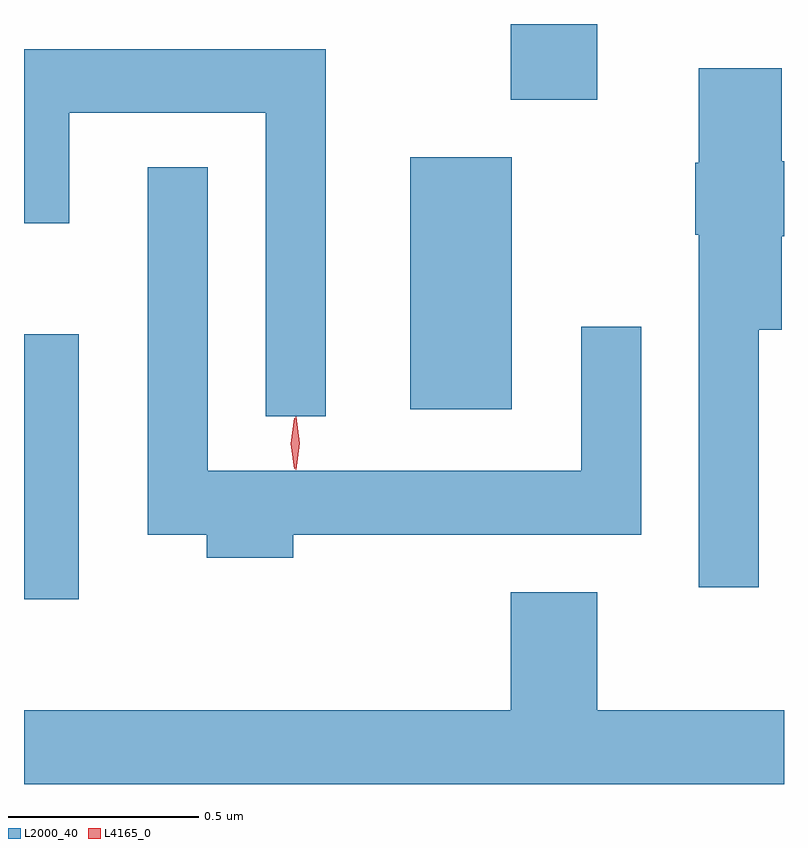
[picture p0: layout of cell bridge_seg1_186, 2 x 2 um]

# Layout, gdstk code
import gdstk
lib = gdstk.Library(unit=1e-6, precision=1e-09)
def R(c, l, rs):  # rectangles x0, y0, x1, y1
    for r in rs: c.add(gdstk.rectangle(r[:2], r[2:], *l))
def P(c, l, *ps):  # polygons
    for p in ps: c.add(gdstk.Polygon(p, *l))
L2000_40 = (2000, 40)
L4165_0 = (4165, 0)

bridge_seg1_186 = lib.new_cell('bridge_seg1_186')
R(bridge_seg1_186, L2000_40, [(776.64,957.856,776.784,958.554), (777.656,958.356,777.924,959.019), (777.921,959.171,778.149,959.37)])
P(bridge_seg1_186, L2000_40, [(777.434,959.304),(776.64,959.304),(776.64,958.846),(776.759,958.846),(776.759,959.136),(777.276,959.136),(777.276,958.338),(777.434,958.338)],
  [(778.574,958.566),(778.634,958.566),(778.634,958.811),(778.64,958.811),(778.64,959.009),(778.634,959.009),(778.634,959.254),(778.416,959.254),(778.416,959.005),(778.406,959.005),(778.406,958.815),(778.416,958.815),(778.416,957.888),(778.574,957.888)],
  [(777.349,958.026),(778.264,958.026),(778.264,958.573),(778.106,958.573),(778.106,958.194),(777.124,958.194),(777.124,958.993),(776.966,958.993),(776.966,958.026),(777.121,958.026),(777.121,957.966),(777.349,957.966)],
  [(778.64,957.564),(778.149,957.564),(778.149,957.874),(777.921,957.874),(777.921,957.564),(776.64,957.564),(776.64,957.37),(778.64,957.37)])
P(bridge_seg1_186, L4165_0, [(777.351,958.2),(777.342,958.266),(777.351,958.333),(777.352,958.333),(777.352,958.333),(777.362,958.266),(777.352,958.2),(777.352,958.2)],
  [(777.355,958.197),(777.346,958.267),(777.355,958.336),(777.356,958.336),(777.356,958.336),(777.366,958.267),(777.356,958.197),(777.356,958.197)])

lib.write_gds('bridge_seg1_186.gds')
